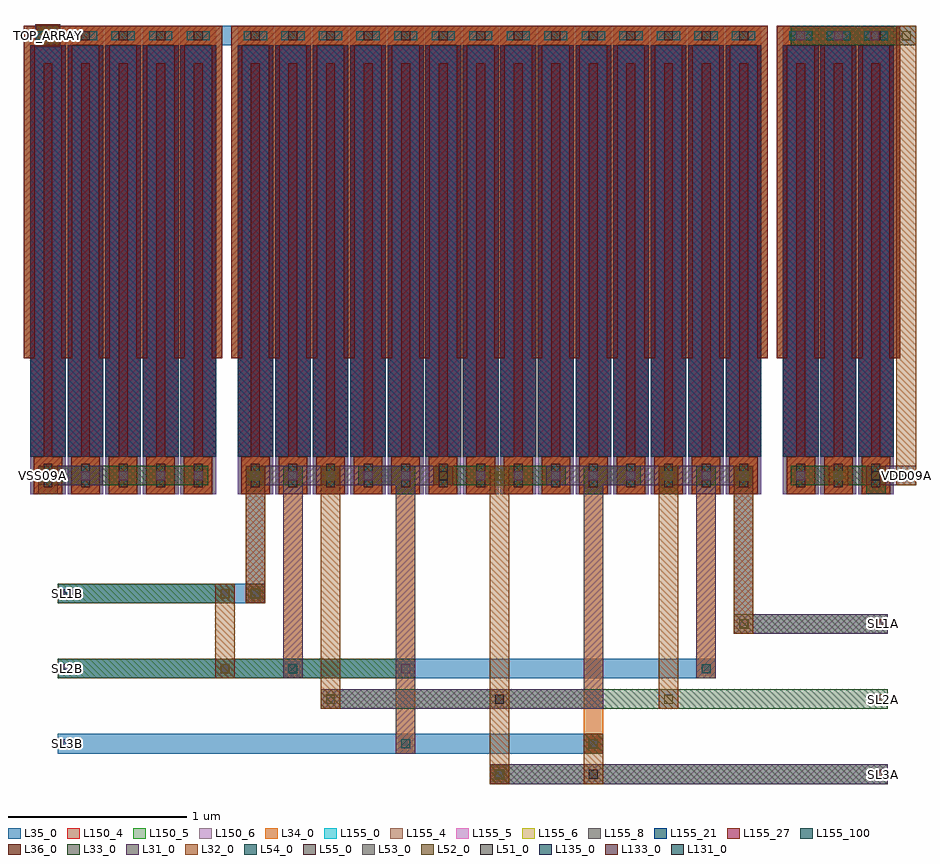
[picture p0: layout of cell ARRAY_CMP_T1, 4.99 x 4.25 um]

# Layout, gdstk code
from math import pi, radians
import gdstk
lib = gdstk.Library(unit=1e-6, precision=1e-09)
def R(c, l, rs):  # rectangles x0, y0, x1, y1
    for r in rs: c.add(gdstk.rectangle(r[:2], r[2:], *l))
def A(c, l, x, y, w, h, nx, ny, dx, dy):  # array of equal rectangles
    R(c, l, [(x+i*dx, y+j*dy, x+i*dx+w, y+j*dy+h) for i in range(nx) for j in range(ny)])
L31_0 = (31, 0)
L32_0 = (32, 0)
L33_0 = (33, 0)
L34_0 = (34, 0)
L35_0 = (35, 0)
L36_0 = (36, 0)
L51_0 = (51, 0)
L52_0 = (52, 0)
L53_0 = (53, 0)
L54_0 = (54, 0)
L55_0 = (55, 0)
L131_0 = (131, 0)
L133_0 = (133, 0)
L135_0 = (135, 0)
L150_4 = (150, 4)
L150_5 = (150, 5)
L150_6 = (150, 6)
L155_0 = (155, 0)
L155_4 = (155, 4)
L155_5 = (155, 5)
L155_6 = (155, 6)
L155_8 = (155, 8)
L155_21 = (155, 21)
L155_27 = (155, 27)
L155_100 = (155, 100)

m5_m4_cdns_620235035897 = lib.new_cell('M5_M4_CDNS_620235035897')
R(m5_m4_cdns_620235035897, L34_0, [(-0.07,-0.105,0.07,0.105)])
R(m5_m4_cdns_620235035897, L35_0, [(-0.07,-0.105,0.07,0.105)])
R(m5_m4_cdns_620235035897, L54_0, [(-0.025,-0.065,0.025,0.065)])

m6_m5_cdns_620235035898 = lib.new_cell('M6_M5_CDNS_620235035898')
R(m6_m5_cdns_620235035898, L35_0, [(-0.07,-0.105,0.07,0.105)])
R(m6_m5_cdns_620235035898, L36_0, [(-0.055,-0.105,0.055,0.105)])
R(m6_m5_cdns_620235035898, L55_0, [(-0.025,-0.065,0.025,0.065)])

m5_m4_cdns_620235035899 = lib.new_cell('M5_M4_CDNS_620235035899')
R(m5_m4_cdns_620235035899, L34_0, [(-0.095,-0.055,0.095,0.055)])
R(m5_m4_cdns_620235035899, L35_0, [(-0.12,-0.055,0.12,0.055)])
R(m5_m4_cdns_620235035899, L54_0, [(-0.065,-0.025,0.065,0.025)])

m6_m5_cdns_6202350358910 = lib.new_cell('M6_M5_CDNS_6202350358910')
R(m6_m5_cdns_6202350358910, L35_0, [(-0.055,-0.055,0.055,0.055)])
R(m6_m5_cdns_6202350358910, L36_0, [(-0.055,-0.055,0.055,0.055)])
R(m6_m5_cdns_6202350358910, L55_0, [(-0.025,-0.025,0.025,0.025)])

cu1f = lib.new_cell('CU1F')
R(cu1f, L34_0, [(0.02,0,0.18,0.21), (-0.035,2.51,0.235,2.62)])
R(cu1f, L35_0, [(0.02,0,0.18,0.21), (-0.035,2.51,0.235,2.62)])
R(cu1f, L36_0, [(0.02,0,0.18,0.21), (-0.035,2.51,0.235,2.62)])
R(cu1f, L150_4, [(0,0,0.2,2.62)])
R(cu1f, L150_5, [(0,0,0.2,2.62)])
R(cu1f, L150_6, [(0,0,0.2,2.62)])
R(cu1f, L155_0, [(0,0.21,0.2,2.51)])
R(cu1f, L155_4, [(0,0.21,0.2,2.51)])
R(cu1f, L155_5, [(0,0.21,0.2,2.51)])
R(cu1f, L155_6, [(0,0.21,0.2,2.51)])
R(cu1f, L155_8, [(0,0.21,0.2,2.51)])
R(cu1f, L155_21, [(0,0.21,0.2,2.51)])
R(cu1f, L155_27, [(0,0.21,0.2,2.51)])
R(cu1f, L155_100, [(0,0.21,0.2,2.51)])
cu1f.add(gdstk.FlexPath([(0.205,2.59),(0.205,0.76)], 0.06, ends=(0.03, 0), simple_path=True, layer=34, datatype=0))  # L34_0
cu1f.add(gdstk.FlexPath([(0.1,2.41),(0.1,0)], 0.05, ends="flush", simple_path=True, layer=34, datatype=0))  # L34_0
cu1f.add(gdstk.FlexPath([(-0.005,2.59),(-0.005,0.76)], 0.06, ends=(0.03, 0), simple_path=True, layer=34, datatype=0))  # L34_0
cu1f.add(gdstk.FlexPath([(0.205,0.76),(0.205,2.59)], 0.06, ends=(0, 0.03), simple_path=True, layer=35, datatype=0))  # L35_0
cu1f.add(gdstk.FlexPath([(0.1,2.41),(0.1,0)], 0.05, ends="flush", simple_path=True, layer=35, datatype=0))  # L35_0
cu1f.add(gdstk.FlexPath([(-0.005,0.76),(-0.005,2.59)], 0.06, ends=(0, 0.03), simple_path=True, layer=35, datatype=0))  # L35_0
cu1f.add(gdstk.FlexPath([(0.205,0.76),(0.205,2.59)], 0.06, ends=(0, 0.03), simple_path=True, layer=36, datatype=0))  # L36_0
cu1f.add(gdstk.FlexPath([(0.1,2.41),(0.1,0)], 0.05, ends="flush", simple_path=True, layer=36, datatype=0))  # L36_0
cu1f.add(gdstk.FlexPath([(-0.005,0.76),(-0.005,2.59)], 0.06, ends=(0, 0.03), simple_path=True, layer=36, datatype=0))  # L36_0
cu1f.add(gdstk.Reference(m5_m4_cdns_620235035897, (0.1,0.105), rotation=pi, x_reflection=True))
cu1f.add(gdstk.Reference(m6_m5_cdns_620235035898, (0.1,0.105), rotation=pi, x_reflection=True))
cu1f.add(gdstk.Reference(m5_m4_cdns_620235035899, (0.1,2.565)))
cu1f.add(gdstk.Reference(m6_m5_cdns_6202350358910, (0.1,2.565)))

m2_m1_cdns_620235035890 = lib.new_cell('M2_M1_CDNS_620235035890')
R(m2_m1_cdns_620235035890, L31_0, [(-0.055,-0.055,0.055,0.055)])
R(m2_m1_cdns_620235035890, L32_0, [(-0.055,-0.055,0.055,0.055)])
R(m2_m1_cdns_620235035890, L51_0, [(-0.025,-0.025,0.025,0.025)])

m3_m2_cdns_620235035891 = lib.new_cell('M3_M2_CDNS_620235035891')
R(m3_m2_cdns_620235035891, L32_0, [(-0.055,-0.055,0.055,0.055)])
R(m3_m2_cdns_620235035891, L33_0, [(-0.055,-0.055,0.055,0.055)])
R(m3_m2_cdns_620235035891, L52_0, [(-0.025,-0.025,0.025,0.025)])

m4_m3_cdns_620235035892 = lib.new_cell('M4_M3_CDNS_620235035892')
R(m4_m3_cdns_620235035892, L33_0, [(-0.055,-0.055,0.055,0.055)])
R(m4_m3_cdns_620235035892, L34_0, [(-0.055,-0.055,0.055,0.055)])
R(m4_m3_cdns_620235035892, L53_0, [(-0.025,-0.025,0.025,0.025)])

m4_m3_cdns_620235035893 = lib.new_cell('M4_M3_CDNS_620235035893')
R(m4_m3_cdns_620235035893, L33_0, [(-0.07,-0.065,0.07,0.065)])
R(m4_m3_cdns_620235035893, L34_0, [(-0.055,-0.055,0.055,0.055)])
R(m4_m3_cdns_620235035893, L53_0, [(-0.025,-0.025,0.025,0.025)])

m3_m2_cdns_620235035894 = lib.new_cell('M3_M2_CDNS_620235035894')
R(m3_m2_cdns_620235035894, L32_0, [(-0.065,-0.06,0.065,0.06)])
R(m3_m2_cdns_620235035894, L33_0, [(-0.07,-0.065,0.07,0.065)])
R(m3_m2_cdns_620235035894, L52_0, [(-0.025,-0.025,0.025,0.025)])

m2_m1_cdns_620235035895 = lib.new_cell('M2_M1_CDNS_620235035895')
R(m2_m1_cdns_620235035895, L31_0, [(-0.055,-0.055,0.055,0.055)])
R(m2_m1_cdns_620235035895, L32_0, [(-0.065,-0.06,0.065,0.06)])
R(m2_m1_cdns_620235035895, L51_0, [(-0.025,-0.025,0.025,0.025)])

m5_m4_cdns_620235035896 = lib.new_cell('M5_M4_CDNS_620235035896')
R(m5_m4_cdns_620235035896, L34_0, [(-0.055,-0.055,0.055,0.055)])
R(m5_m4_cdns_620235035896, L35_0, [(-0.055,-0.055,0.055,0.055)])
R(m5_m4_cdns_620235035896, L54_0, [(-0.025,-0.025,0.025,0.025)])

array_cmp_t1 = lib.new_cell('ARRAY_CMP_T1')
R(array_cmp_t1, L31_0, [(2.36,-1.62,4.585,-1.51), (1.835,-1.45,1.945,0.16), (1.415,-1.2,2.995,-1.09), (2.885,-1.2,2.995,0.16), (1.205,-1.03,1.315,0.16), (3.515,-1.03,3.625,0.16), (3.725,-0.78,4.585,-0.67), (3.725,-0.78,3.835,0.16), (0.995,-0.61,1.105,0.16), (-0.165,0.05,0.195,0.16), (0.995,0.05,1.945,0.16), (1.835,0.05,2.155,0.16), (2.675,0.05,2.995,0.16), (2.885,0.05,3.835,0.16), (4.465,0.05,4.745,0.16), (-0.18,2.5,-0.04,2.63)])
R(array_cmp_t1, L32_0, [(2.36,-1.62,2.47,0.16), (2.885,-1.62,2.995,-1.34), (1.415,-1.2,1.525,0.16), (3.305,-1.2,3.415,0.16), (0.825,-1.03,0.935,-0.5), (3.725,-0.78,3.835,0.16), (0.995,-0.61,1.105,0.16), (-0.165,0,-0.055,0.16), (4.465,0.05,4.575,0.16), (4.635,0.05,4.745,2.62)])
R(array_cmp_t1, L33_0, [(2.36,-1.62,4.585,-1.51), (1.415,-1.2,4.585,-1.09), (-0.055,-1.03,1.945,-0.92), (3.835,-0.78,4.585,-0.67), (-0.055,-0.61,0.935,-0.5), (1.835,0,1.945,0.16), (2.885,0,2.995,0.16), (3.305,0,3.415,0.16), (4.465,0,4.575,0.16), (-0.165,0.05,0.785,0.16), (1.625,0.05,1.945,0.16), (2.045,0.05,2.785,0.16), (2.885,0.05,3.205,0.16), (4.045,0.05,4.575,0.16), (4.045,2.51,4.745,2.62)])
R(array_cmp_t1, L34_0, [(1.835,-1.45,1.945,0.16), (2.885,-1.45,2.995,0.16), (1.205,-1.03,1.315,0.16), (3.515,-1.03,3.625,0.16)])
R(array_cmp_t1, L35_0, [(-0.055,-1.45,2.995,-1.34), (-0.055,-1.03,3.625,-0.92), (-0.055,-0.61,1.105,-0.5), (-0.18,2.51,1.125,2.62)])
R(array_cmp_t1, L131_0, [(-0.165,0.08,-0.115,0.13), (4.665,0.08,4.715,0.13), (-0.135,2.54,-0.085,2.59)])
A(array_cmp_t1, L133_0, 4.535, -1.59, 0.05, 0.05, 1, 3, 0, 0.42)
A(array_cmp_t1, L135_0, -0.025, -1.42, 0.05, 0.05, 1, 3, 0, 0.42)
array_cmp_t1.add(gdstk.Reference(cu1f, (4,0)))
array_cmp_t1.add(gdstk.Reference(cu1f, (4.21,0)))
array_cmp_t1.add(gdstk.Reference(cu1f, (0.42,0)))
array_cmp_t1.add(gdstk.Reference(cu1f, (0.63,0)))
array_cmp_t1.add(gdstk.Reference(cu1f, (4.42,0)))
array_cmp_t1.add(gdstk.Reference(cu1f, (0.21,0)))
array_cmp_t1.add(gdstk.Reference(cu1f, (0,0)))
array_cmp_t1.add(gdstk.Reference(cu1f, (-0.21,0)))
array_cmp_t1.add(gdstk.Reference(cu1f, (3.68,0)))
array_cmp_t1.add(gdstk.Reference(cu1f, (3.47,0)))
array_cmp_t1.add(gdstk.Reference(cu1f, (3.26,0)))
array_cmp_t1.add(gdstk.Reference(cu1f, (3.05,0)))
array_cmp_t1.add(gdstk.Reference(cu1f, (2.84,0)))
array_cmp_t1.add(gdstk.Reference(cu1f, (2.63,0)))
array_cmp_t1.add(gdstk.Reference(cu1f, (2.42,0)))
array_cmp_t1.add(gdstk.Reference(cu1f, (2.21,0)))
array_cmp_t1.add(gdstk.Reference(cu1f, (2,0)))
array_cmp_t1.add(gdstk.Reference(cu1f, (1.79,0)))
array_cmp_t1.add(gdstk.Reference(cu1f, (1.58,0)))
array_cmp_t1.add(gdstk.Reference(cu1f, (1.37,0)))
array_cmp_t1.add(gdstk.Reference(cu1f, (1.16,0)))
array_cmp_t1.add(gdstk.Reference(cu1f, (0.95,0)))
array_cmp_t1.add(gdstk.Reference(m2_m1_cdns_620235035890, (2.94,-1.565)))
array_cmp_t1.add(gdstk.Reference(m2_m1_cdns_620235035890, (4.69,0.105)))
array_cmp_t1.add(gdstk.Reference(m2_m1_cdns_620235035890, (2.415,-1.145)))
array_cmp_t1.add(gdstk.Reference(m2_m1_cdns_620235035890, (-0.11,0.105)))
array_cmp_t1.add(gdstk.Reference(m2_m1_cdns_620235035890, (4.52,0.105)))
array_cmp_t1.add(gdstk.Reference(m2_m1_cdns_620235035890, (2.1,0.105)))
array_cmp_t1.add(gdstk.Reference(m3_m2_cdns_620235035891, (3.78,-0.725)))
array_cmp_t1.add(gdstk.Reference(m3_m2_cdns_620235035891, (1.47,-1.145)))
array_cmp_t1.add(gdstk.Reference(m3_m2_cdns_620235035891, (2.1,0.105)))
array_cmp_t1.add(gdstk.Reference(m3_m2_cdns_620235035891, (4.69,2.565)))
array_cmp_t1.add(gdstk.Reference(m3_m2_cdns_620235035891, (1.05,0.105)))
array_cmp_t1.add(gdstk.Reference(m3_m2_cdns_620235035891, (1.47,0.105)))
array_cmp_t1.add(gdstk.Reference(m3_m2_cdns_620235035891, (2.415,0.105)))
array_cmp_t1.add(gdstk.Reference(m3_m2_cdns_620235035891, (3.78,0.105)))
array_cmp_t1.add(gdstk.Reference(m3_m2_cdns_620235035891, (3.36,0.105)))
array_cmp_t1.add(gdstk.Reference(m3_m2_cdns_620235035891, (4.52,0.105)))
array_cmp_t1.add(gdstk.Reference(m3_m2_cdns_620235035891, (-0.11,0.105)))
array_cmp_t1.add(gdstk.Reference(m3_m2_cdns_620235035891, (4.31,0.105)))
array_cmp_t1.add(gdstk.Reference(m3_m2_cdns_620235035891, (2.94,-1.395)))
array_cmp_t1.add(gdstk.Reference(m3_m2_cdns_620235035891, (0.88,-0.555)))
array_cmp_t1.add(gdstk.Reference(m3_m2_cdns_620235035891, (2.415,-1.565)))
array_cmp_t1.add(gdstk.Reference(m3_m2_cdns_620235035891, (0.88,-0.975)))
array_cmp_t1.add(gdstk.Reference(m3_m2_cdns_620235035891, (3.36,-1.145)))
array_cmp_t1.add(gdstk.Reference(m3_m2_cdns_620235035891, (1.05,-0.555)))
array_cmp_t1.add(gdstk.Reference(m4_m3_cdns_620235035892, (1.68,0.105)))
array_cmp_t1.add(gdstk.Reference(m4_m3_cdns_620235035892, (1.89,-0.975)))
array_cmp_t1.add(gdstk.Reference(m4_m3_cdns_620235035892, (1.05,-0.555)))
array_cmp_t1.add(gdstk.Reference(m4_m3_cdns_620235035892, (2.415,-1.565)))
array_cmp_t1.add(gdstk.Reference(m4_m3_cdns_620235035892, (4.51,2.565), rotation=pi, x_reflection=True))
array_cmp_t1.add(gdstk.Reference(m4_m3_cdns_620235035892, (4.1,2.565), rotation=pi, x_reflection=True))
array_cmp_t1.add(gdstk.Reference(m4_m3_cdns_620235035892, (1.05,0.105)))
array_cmp_t1.add(gdstk.Reference(m4_m3_cdns_620235035892, (1.26,0.105)))
array_cmp_t1.add(gdstk.Reference(m4_m3_cdns_620235035892, (1.47,0.105)))
array_cmp_t1.add(gdstk.Reference(m4_m3_cdns_620235035892, (1.89,0.105)))
array_cmp_t1.add(gdstk.Reference(m4_m3_cdns_620235035892, (2.1,0.105)))
array_cmp_t1.add(gdstk.Reference(m4_m3_cdns_620235035892, (2.31,0.105)))
array_cmp_t1.add(gdstk.Reference(m4_m3_cdns_620235035892, (2.52,0.105)))
array_cmp_t1.add(gdstk.Reference(m4_m3_cdns_620235035892, (2.73,0.105)))
array_cmp_t1.add(gdstk.Reference(m4_m3_cdns_620235035892, (2.94,0.105)))
array_cmp_t1.add(gdstk.Reference(m4_m3_cdns_620235035892, (3.15,0.105)))
array_cmp_t1.add(gdstk.Reference(m4_m3_cdns_620235035892, (3.36,0.105)))
array_cmp_t1.add(gdstk.Reference(m4_m3_cdns_620235035892, (3.57,0.105)))
array_cmp_t1.add(gdstk.Reference(m4_m3_cdns_620235035892, (3.78,0.105)))
array_cmp_t1.add(gdstk.Reference(m4_m3_cdns_620235035892, (4.52,0.105)))
array_cmp_t1.add(gdstk.Reference(m4_m3_cdns_620235035892, (0.1,0.105)))
array_cmp_t1.add(gdstk.Reference(m4_m3_cdns_620235035892, (0.31,0.105)))
array_cmp_t1.add(gdstk.Reference(m4_m3_cdns_620235035892, (-0.11,0.105)))
array_cmp_t1.add(gdstk.Reference(m4_m3_cdns_620235035892, (0.73,0.105)))
array_cmp_t1.add(gdstk.Reference(m4_m3_cdns_620235035892, (0.52,0.105)))
array_cmp_t1.add(gdstk.Reference(m4_m3_cdns_620235035892, (2.94,-1.395)))
array_cmp_t1.add(gdstk.Reference(m4_m3_cdns_620235035892, (4.1,0.105)))
array_cmp_t1.add(gdstk.Reference(m4_m3_cdns_620235035892, (4.31,0.105)))
array_cmp_t1.add(gdstk.Reference(m4_m3_cdns_620235035892, (4.31,2.565), rotation=pi, x_reflection=True))
array_cmp_t1.add(gdstk.Reference(m4_m3_cdns_620235035893, (-0.11,2.565)))
array_cmp_t1.add(gdstk.Reference(m3_m2_cdns_620235035894, (-0.11,2.565)))
array_cmp_t1.add(gdstk.Reference(m2_m1_cdns_620235035895, (-0.11,2.565)))
array_cmp_t1.add(gdstk.Reference(m5_m4_cdns_620235035896, (1.05,-0.555)))
array_cmp_t1.add(gdstk.Reference(m5_m4_cdns_620235035896, (1.89,-1.395)))
array_cmp_t1.add(gdstk.Reference(m5_m4_cdns_620235035896, (3.57,-0.975)))
array_cmp_t1.add(gdstk.Reference(m5_m4_cdns_620235035896, (2.415,-1.565)))
array_cmp_t1.add(gdstk.Reference(m5_m4_cdns_620235035896, (1.26,-0.975)))
array_cmp_t1.add(gdstk.Reference(m5_m4_cdns_620235035896, (2.94,-1.395)))
array_cmp_t1.add(gdstk.Label('SL3B', (0,-1.395), layer=135, texttype=0))
array_cmp_t1.add(gdstk.Label('SL2B', (0,-0.975), layer=135, texttype=0))
array_cmp_t1.add(gdstk.Label('SL1B', (0,-0.555), layer=135, texttype=0))
array_cmp_t1.add(gdstk.Label('SL1A', (4.56,-0.725), layer=133, texttype=0))
array_cmp_t1.add(gdstk.Label('SL2A', (4.56,-1.145), layer=133, texttype=0))
array_cmp_t1.add(gdstk.Label('SL3A', (4.56,-1.565), layer=133, texttype=0))
array_cmp_t1.add(gdstk.Label('VDD09A', (4.69,0.105), layer=131, texttype=0))
array_cmp_t1.add(gdstk.Label('VSS09A', (-0.14,0.105), layer=131, texttype=0))
array_cmp_t1.add(gdstk.Label('TOP_ARRAY', (-0.112,2.565), layer=131, texttype=0))

lib.write_gds('ARRAY_CMP_T1.gds')
